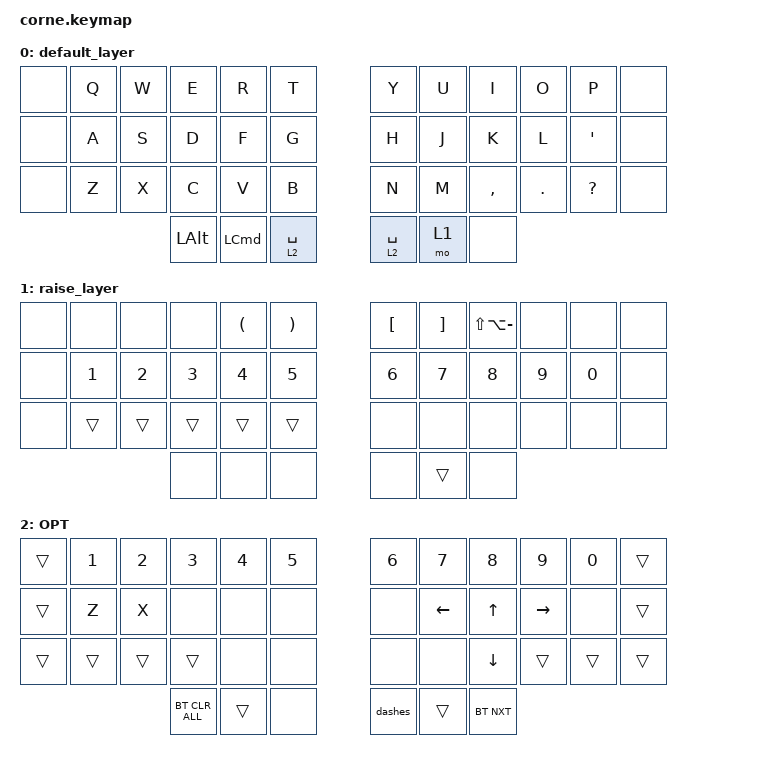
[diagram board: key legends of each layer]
/*
 * Copyright (c) 2020 The ZMK Contributors
 *
 * SPDX-License-Identifier: MIT
 */

#include <behaviors.dtsi>
#include <dt-bindings/zmk/bt.h>
#include <dt-bindings/zmk/keys.h>

/ {
    combos {
        compatible = "zmk,combos";

        Backspace {
            bindings = <&kp BACKSPACE>;
            key-positions = <9 8>;
        };

        Return {
            bindings = <&kp RET>;
            key-positions = <21 20>;
        };

        spacebar {
            bindings = <&period_space>;
            key-positions = <38 39>;
        };

        tab {
            bindings = <&kp TAB>;
            key-positions = <2 1>;
        };

        DF_V {
            bindings = <&kp C>;
            key-positions = <15 16>;
        };

        FG_B {
            bindings = <&kp B>;
            key-positions = <16 17>;
        };

        L_Shift {
            bindings = <&kp LEFT_SHIFT>;
            key-positions = <13 1>;
        };

        R_Shift {
            bindings = <&kp RIGHT_SHIFT>;
            key-positions = <22 34>;
        };

        layertoggleL {
            bindings = <&mo 1>;
            key-positions = <37 40>;
        };

        GT_V {
            bindings = <&kp V>;
            key-positions = <17 5>;
        };

        JKcomma {
            bindings = <&kp COMMA>;
            key-positions = <19 20>;
        };

        JKL_exclam {
            bindings = <&kp EXCL>;
            key-positions = <19 20 21>;
        };

        comma-space {
            bindings = <&comma_space>;
            key-positions = <38 40>;
        };
    };

    behaviors {
        Kx2345: Kx2345 {
            compatible = "zmk,behavior-tap-dance";
            label = "KX2345";
            #binding-cells = <0>;
            bindings =
                <&kp K>,
                <&kp PERIOD>,
                <&kp COMMA>,
                <&kp QUESTION>,
                <&kp EXCL>;

            tapping-term-ms = <400>;
        };

        spacebar_hold_mod: spacebar_hold_mod {
            compatible = "zmk,behavior-hold-tap";
            label = "SPACEBAR_HOLD_MOD";
            bindings = <&mo>, <&kp>;

            #binding-cells = <2>;
            tapping-term-ms = <200>;
            flavor = "balanced";
        };

        hn: hn {
            compatible = "zmk,behavior-hold-tap";
            label = "HN";
            bindings = <&kp>, <&kp>;

            #binding-cells = <2>;
            tapping-term-ms = <180>;
            flavor = "balanced";
        };

        jm: jm {
            compatible = "zmk,behavior-hold-tap";
            label = "JM";
            bindings = <&kp>, <&kp>;

            #binding-cells = <2>;
            tapping-term-ms = <180>;
            flavor = "balanced";
        };

        az: az {
            compatible = "zmk,behavior-hold-tap";
            label = "AZ";
            bindings = <&kp>, <&kp>;

            #binding-cells = <2>;
            tapping-term-ms = <200>;
            flavor = "balanced";
        };

        sx: sx {
            compatible = "zmk,behavior-hold-tap";
            label = "SX";
            bindings = <&kp>, <&kp>;

            #binding-cells = <2>;
            tapping-term-ms = <180>;
            flavor = "balanced";
        };

        dc: dc {
            compatible = "zmk,behavior-hold-tap";
            label = "DC";
            bindings = <&kp>, <&kp>;

            #binding-cells = <2>;
            tapping-term-ms = <180>;
            flavor = "balanced";
        };

        fv: fv {
            compatible = "zmk,behavior-hold-tap";
            label = "FV";
            bindings = <&kp>, <&kp>;

            #binding-cells = <2>;
            tapping-term-ms = <180>;
            flavor = "balanced";
        };

        gb: gb {
            compatible = "zmk,behavior-hold-tap";
            label = "GB";
            bindings = <&kp>, <&kp>;

            #binding-cells = <2>;
            tapping-term-ms = <180>;
            flavor = "balanced";
        };

        quest_23: quest_23 {
            compatible = "zmk,behavior-tap-dance";
            label = "QUEST_23";
            #binding-cells = <0>;
            bindings = <&kp QUESTION>, <&kp EXCLAMATION>;

            tapping-term-ms = <400>;
        };

        dashes: dashes {
            compatible = "zmk,behavior-tap-dance";
            label = "DASHES";
            #binding-cells = <0>;
            bindings = <&kp MINUS>, <&kp LG(LS(MINUS))>;

            tapping-term-ms = <400>;
        };
    };

    macros {
        period_space: period_space {
            compatible = "zmk,behavior-macro";
            #binding-cells = <0>;
            bindings = <&kp DOT &kp SPACE>;
            label = "PERIOD_SPACE";
        };

        comma_space: comma_space {
            compatible = "zmk,behavior-macro";
            #binding-cells = <0>;
            bindings = <&kp COMMA &kp SPACE>;
            label = "COMMA_SPACE";
        };
    };

    keymap {
        compatible = "zmk,keymap";

        default_layer {
            // -----------------------------------------------------------------------------------------
            // |  TAB |  Q  |  W  |  E  |  R  |  T  |   |  Y  |  U   |  I  |  O  |  P  | BKSP |
            // | CTRL |  A  |  S  |  D  |  F  |  G  |   |  H  |  J   |  K  |  L  |  ;  |  '   |
            // | SHFT |  Z  |  X  |  C  |  V  |  B  |   |  N  |  M   |  ,  |  .  |  /  | ESC  |
            //                    | GUI | LWR | SPC |   | ENT | RSE  | ALT |

            bindings = <
&none  &kp Q  &kp W  &kp E         &kp R             &kp T                         &kp Y                       &kp U  &kp I      &kp O       &kp P         &none
&none  &kp A  &kp S  &kp D         &kp F             &kp G                         &kp H                       &kp J  &kp K      &kp L       &kp SQT       &none
&none  &kp Z  &kp X  &kp C         &kp V             &kp B                         &kp N                       &kp M  &kp COMMA  &kp PERIOD  &kp QUESTION  &none
                     &kp LEFT_ALT  &kp LEFT_COMMAND  &spacebar_hold_mod 2 SPACE    &spacebar_hold_mod 2 SPACE  &mo 1  &none
            >;
        };

        raise_layer {
            // -----------------------------------------------------------------------------------------
            // |  TAB |  !  |  @  |  #  |  $  |  %  |   |  ^  |  &  |  *  |  (  |  )  | BKSP |
            // | CTRL |     |     |     |     |     |   |  -  |  =  |  [  |  ]  |  \  |  `   |
            // | SHFT |     |     |     |     |     |   |  _  |  +  |  {  |  }  | "|" |  ~   |
            //                    | GUI |     | SPC |   | ENT |     | ALT |

            bindings = <
&none  &none         &none         &none         &kp LEFT_PARENTHESIS  &kp RIGHT_PARENTHESIS    &kp LEFT_BRACKET  &kp RIGHT_BRACKET  &kp LS(LA(MINUS))  &none         &none         &none
&none  &kp NUMBER_1  &kp NUMBER_2  &kp NUMBER_3  &kp NUMBER_4          &kp NUMBER_5             &kp NUMBER_6      &kp NUMBER_7       &kp NUMBER_8       &kp NUMBER_9  &kp NUMBER_0  &none
&none  &trans        &trans        &trans        &trans                &trans                   &none             &none              &none              &none         &none         &none
                                   &none         &none                 &none                    &none             &trans             &none
            >;
        };

        OPT {
            bindings = <
&trans  &kp NUMBER_1  &kp NUMBER_2  &kp NUMBER_3    &kp NUMBER_4  &kp N5    &kp NUMBER_6  &kp NUMBER_7    &kp NUMBER_8  &kp NUMBER_9     &kp NUMBER_0  &trans
&trans  &kp Z         &kp X         &none           &none         &none     &none         &kp LEFT_ARROW  &kp UP_ARROW  &kp RIGHT_ARROW  &none         &trans
&trans  &trans        &trans        &trans          &none         &none     &none         &none           &kp DOWN      &trans           &trans        &trans
                                    &bt BT_CLR_ALL  &trans        &none     &dashes       &trans          &bt BT_NXT
            >;
        };
    };

    conditional_layers { compatible = "zmk,conditional-layers"; };
};
